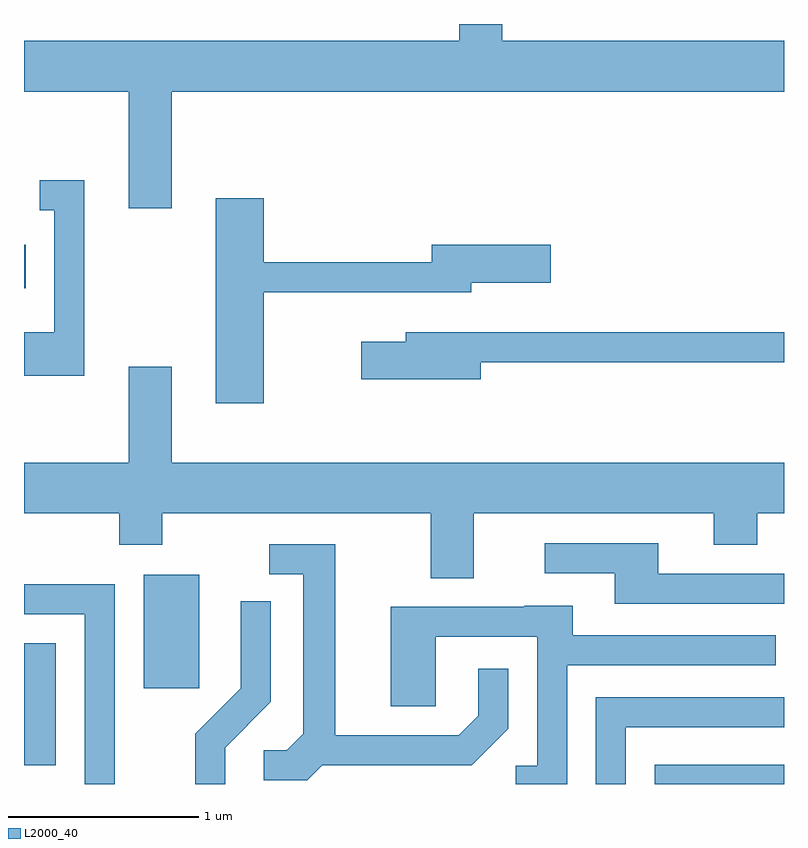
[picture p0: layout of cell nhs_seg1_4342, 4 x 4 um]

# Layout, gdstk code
import gdstk
lib = gdstk.Library(unit=1e-6, precision=1e-09)
def R(c, l, rs):  # rectangles x0, y0, x1, y1
    for r in rs: c.add(gdstk.rectangle(r[:2], r[2:], *l))
def P(c, l, *ps):  # polygons
    for p in ps: c.add(gdstk.Polygon(p, *l))
L2000_40 = (2000, 40)

nhs_seg1_4342 = lib.new_cell('nhs_seg1_4342')
R(nhs_seg1_4342, L2000_40, [(318.931,893.712,319.611,893.814), (315.611,893.811,315.779,894.454), (316.241,894.216,316.534,894.814), (315.611,896.321,315.619,896.549)])
P(nhs_seg1_4342, L2000_40, [(316.389,897.356),(319.611,897.356),(319.611,897.624),(318.129,897.624),(318.129,897.712),(317.901,897.712),(317.901,897.624),(315.611,897.624),(315.611,897.356),(316.161,897.356),(316.161,896.741),(316.389,896.741)],
  [(315.929,896.889),(315.693,896.889),(315.693,896.731),(315.771,896.731),(315.771,896.089),(315.611,896.089),(315.611,895.861),(315.929,895.861)],
  [(316.874,896.301),(317.964,896.301),(317.964,896.351),(318.384,896.351),(318.384,896.549),(317.756,896.549),(317.756,896.459),(316.874,896.459),(316.874,896.794),(316.621,896.794),(316.621,895.716),(316.874,895.716)],
  [(318.014,895.931),(319.611,895.931),(319.611,896.089),(317.621,896.089),(317.621,896.039),(317.386,896.039),(317.386,895.841),(318.014,895.841)],
  [(317.979,895.136),(319.241,895.136),(319.241,894.971),(319.469,894.971),(319.469,895.136),(319.611,895.136),(319.611,895.404),(316.389,895.404),(316.389,895.909),(316.161,895.909),(316.161,895.404),(315.611,895.404),(315.611,895.136),(316.111,895.136),(316.111,894.971),(316.339,894.971),(316.339,895.136),(317.751,895.136),(317.751,894.796),(317.979,894.796)],
  [(319.611,894.819),(318.949,894.819),(318.949,894.979),(318.353,894.979),(318.353,894.821),(318.721,894.821),(318.721,894.661),(319.611,894.661)],
  [(317.182,893.811),(317.967,893.811),(318.159,894.004),(318.159,894.318),(318.001,894.318),(318.001,894.072),(317.899,893.969),(317.249,893.969),(317.249,894.974),(316.903,894.974),(316.903,894.816),(317.081,894.816),(317.081,893.977),(316.994,893.889),(316.873,893.889),(316.873,893.731),(317.102,893.731)],
  [(316.089,894.764),(315.611,894.764),(315.611,894.606),(315.931,894.606),(315.931,893.712),(316.089,893.712)],
  [(316.669,893.904),(316.909,894.144),(316.909,894.673),(316.751,894.673),(316.751,894.217),(316.511,893.977),(316.511,893.712),(316.669,893.712)],
  [(318.469,894.336),(319.568,894.336),(319.568,894.494),(318.499,894.494),(318.499,894.649),(318.245,894.649),(318.245,894.644),(317.541,894.644),(317.541,894.121),(317.779,894.121),(317.779,894.486),(318.311,894.486),(318.311,893.809),(318.198,893.809),(318.198,893.712),(318.469,893.712)],
  [(318.779,894.011),(319.611,894.011),(319.611,894.169),(318.621,894.169),(318.621,893.712),(318.779,893.712)])

lib.write_gds('nhs_seg1_4342.gds')
